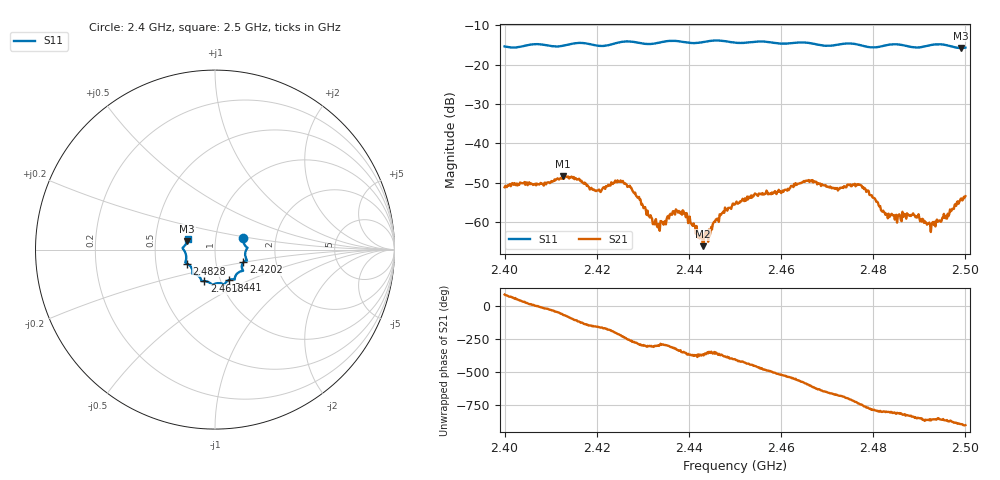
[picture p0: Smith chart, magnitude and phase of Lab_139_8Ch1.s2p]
# Hz S RI R 50
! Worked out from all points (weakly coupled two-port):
!   601 points, 2.4 GHz to 2.5 GHz, reference 50 ohm
!   highest |S21| = -48.34 dB at 2.4127 GHz (marker M1); lowest = -66.1 dB at 2.443 GHz (marker M2)
!   lowest |S11| = -15.8 dB at 2.499 GHz (marker M3), VSWR 1.39, Z = 36.5 + j3.49 ohm
!   |S11| at or under -10 dB: start of sweep to end of sweep
!   S12 and S22 are empty: the file has one direction only
!   S11 on the Smith chart (normalised r, x): 2.4 GHz: 1.36, +0.18; 2.4202 GHz: 1.36, -0.20; 2.441 GHz: 1.10, -0.39; 2.4618 GHz: 0.84, -0.30; 2.4828 GHz: 0.72, -0.12; 2.5 GHz: 0.73, +0.09
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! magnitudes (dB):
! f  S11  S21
! 2.4 GHz  -15.4  -51.1
! 2.4127 GHz  -15.3  -48.3
! 2.4167 GHz  -14.5  -49.5
! 2.4202 GHz  -15.2  -51.9
! 2.4257 GHz  -14.2  -49.5
! 2.4333 GHz  -14.5  -60.4
! 2.4377 GHz  -14.1  -57.6
! 2.4392 GHz  -14.4  -57.7
! 2.441 GHz  -14.6  -60.3
! 2.443 GHz  -14.3  -66.1
! 2.4473 GHz  -14.0  -57.5
! 2.45 GHz  -14.5  -55.4
! 2.4618 GHz  -14.6  -51.5
! 2.4667 GHz  -14.6  -49.7
! 2.4722 GHz  -15.0  -51.3
! 2.477 GHz  -15.0  -50.4
! 2.4828 GHz  -15.1  -57.8
! 2.4833 GHz  -15.0  -57.8
! 2.4885 GHz  -15.6  -58.0
! 2.493 GHz  -15.0  -59.9
! 2.499 GHz  -15.8  -54.0
! 2.5 GHz  -15.7  -53.4
